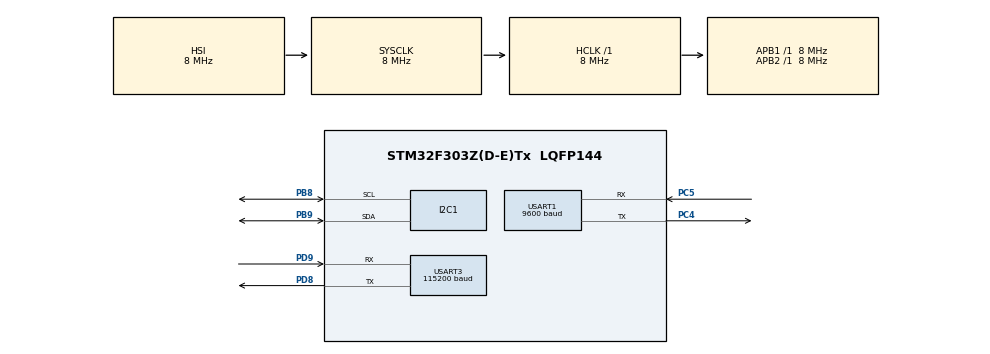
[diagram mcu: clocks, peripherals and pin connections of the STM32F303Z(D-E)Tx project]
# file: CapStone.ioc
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I2C1.Timing=0x00201D2B
Mcu.Family=STM32F3
Mcu.Name=STM32F303Z(D-E)Tx
Mcu.Package=LQFP144
NVIC.PriorityGroup=NVIC_PRIORITYGROUP_4
PA13.Mode=Serial_Wire
PA13.Signal=SYS_JTMS-SWDIO
PA14.Mode=Serial_Wire
PA14.Signal=SYS_JTCK-SWCLK
PB8.Mode=I2C
PB8.Signal=I2C1_SCL
PB9.Mode=I2C
PB9.Signal=I2C1_SDA
PC4.Mode=Asynchronous
PC4.Signal=USART1_TX
PC5.Mode=Asynchronous
PC5.Signal=USART1_RX
PD8.Mode=Asynchronous
PD8.Signal=USART3_TX
PD9.Mode=Asynchronous
PD9.Signal=USART3_RX
ProjectManager.HeapSize=0x200
ProjectManager.StackSize=0x400
ProjectManager.TargetToolchain=STM32CubeIDE
RCC.AHBFreq_Value=8000000
RCC.APB1Freq_Value=8000000
RCC.APB2Freq_Value=8000000
RCC.CortexFreq_Value=8000000
RCC.HSE_VALUE=8000000
RCC.HSI_VALUE=8000000
RCC.LSE_VALUE=32768
RCC.SYSCLKFreq_VALUE=8000000
USART1.BaudRate=9600
USART1.VirtualMode-Asynchronous=VM_ASYNC
USART3.BaudRate=115200
USART3.VirtualMode-Asynchronous=VM_ASYNC
board=custom

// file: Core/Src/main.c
/* USER CODE BEGIN Header */
/**
  ******************************************************************************
  * @file           : main.c
  * @brief          : Main program body
  ******************************************************************************
  * @attention
  *
  * Copyright (c) 2026 STMicroelectronics.
  * All rights reserved.
  *
  * This software is licensed under terms that can be found in the LICENSE file
  * in the root directory of this software component.
  * If no LICENSE file comes with this software, it is provided AS-IS.
  *
  ******************************************************************************
  */
/* USER CODE END Header */
#include "main.h"

/* USER CODE BEGIN Includes */
#include "pzem004t.h"
#include "lcd_i2c.h"
#include <stdio.h>
/* USER CODE END Includes */

I2C_HandleTypeDef hi2c1;

UART_HandleTypeDef huart1;
UART_HandleTypeDef huart3;

/* USER CODE BEGIN PV */
PZEM_Data_t pzem_data;
PZEM_Status_t pzem_status;
uint32_t pzem_tick = 0;
uint8_t lcd_ok = 0;
/* USER CODE END PV */

void SystemClock_Config(void);
static void MX_GPIO_Init(void);
static void MX_I2C1_Init(void);
static void MX_USART1_UART_Init(void);
static void MX_USART3_UART_Init(void);

/* USER CODE BEGIN 0 */
int __io_putchar(int ch)
{
    HAL_UART_Transmit(&huart3, (uint8_t *)&ch, 1, HAL_MAX_DELAY);
    return ch;
}
/* USER CODE END 0 */

int main(void)
{

  /* MCU Configuration--------------------------------------------------------*/

  /* Reset of all peripherals, Initializes the Flash interface and the Systick. */
  HAL_Init();

  /* Configure the system clock */
  SystemClock_Config();

  /* Initialize all configured peripherals */
  MX_GPIO_Init();
  MX_I2C1_Init();
  MX_USART1_UART_Init();
  MX_USART3_UART_Init();
  /* USER CODE BEGIN 2 */
  printf("System start\r\n");

  if (LCD_Init() == HAL_OK)
  {
      lcd_ok = 1;
      printf("LCD init OK\r\n");

      LCD_Clear();
      LCD_PrintAt(0, 0, "Hello");
      LCD_PrintAt(1, 0, "STM32 + LCD");
      HAL_Delay(1000);
      LCD_Clear();
  }
  else
  {
      lcd_ok = 0;
      printf("LCD init FAIL\r\n");
  }
  /* USER CODE END 2 */

  /* Infinite loop */
  /* USER CODE BEGIN WHILE */
  while (1)
  {
      if (HAL_GetTick() - pzem_tick >= 1000)
      {
          pzem_tick = HAL_GetTick();

          pzem_status = PZEM_ReadMeasurements(&huart1, PZEM_DEFAULT_ADDR, &pzem_data);

          if (pzem_status == PZEM_OK)
          {
              printf("V=%.1f V, I=%.3f A, P=%.1f W, E=%.3f kWh, F=%.1f Hz, PF=%.2f\r\n",
                     pzem_data.voltage,
                     pzem_data.current,
                     pzem_data.power,
                     pzem_data.energy,
                     pzem_data.frequency,
                     pzem_data.pf);

              if (lcd_ok)
              {
                  char line1[17];
                  char line2[17];

                  snprintf(line1, sizeof(line1), "V:%5.1f I:%4.2f",
                           pzem_data.voltage, pzem_data.current);
                  snprintf(line2, sizeof(line2), "P:%5.1f PF:%4.2f",
                           pzem_data.power, pzem_data.pf);

                  LCD_PrintAt(0, 0, "                ");
                  LCD_PrintAt(1, 0, "                ");
                  LCD_PrintAt(0, 0, line1);
                  LCD_PrintAt(1, 0, line2);
              }
          }
          else
          {
              printf("PZEM read error: %d\r\n", pzem_status);

              if (lcd_ok)
              {
                  LCD_PrintAt(0, 0, "PZEM Error      ");
                  LCD_PrintAt(1, 0, "                ");
              }
          }
      }

    /* USER CODE END WHILE */

  }
}

void SystemClock_Config(void)
{
  RCC_OscInitTypeDef RCC_OscInitStruct = {0};
  RCC_ClkInitTypeDef RCC_ClkInitStruct = {0};
  RCC_PeriphCLKInitTypeDef PeriphClkInit = {0};

  /** Initializes the RCC Oscillators according to the specified parameters
  * in the RCC_OscInitTypeDef structure.
  */
  RCC_OscInitStruct.OscillatorType = RCC_OSCILLATORTYPE_HSI;
  RCC_OscInitStruct.HSIState = RCC_HSI_ON;
  RCC_OscInitStruct.HSICalibrationValue = RCC_HSICALIBRATION_DEFAULT;
  RCC_OscInitStruct.PLL.PLLState = RCC_PLL_NONE;
  if (HAL_RCC_OscConfig(&RCC_OscInitStruct) != HAL_OK)
  {
    Error_Handler();
  }

  /** Initializes the CPU, AHB and APB buses clocks
  */
  RCC_ClkInitStruct.ClockType = RCC_CLOCKTYPE_HCLK|RCC_CLOCKTYPE_SYSCLK
                              |RCC_CLOCKTYPE_PCLK1|RCC_CLOCKTYPE_PCLK2;
  RCC_ClkInitStruct.SYSCLKSource = RCC_SYSCLKSOURCE_HSI;
  RCC_ClkInitStruct.AHBCLKDivider = RCC_SYSCLK_DIV1;
  RCC_ClkInitStruct.APB1CLKDivider = RCC_HCLK_DIV1;
  RCC_ClkInitStruct.APB2CLKDivider = RCC_HCLK_DIV1;

  if (HAL_RCC_ClockConfig(&RCC_ClkInitStruct, FLASH_LATENCY_0) != HAL_OK)
  {
    Error_Handler();
  }
  PeriphClkInit.PeriphClockSelection = RCC_PERIPHCLK_USART1|RCC_PERIPHCLK_USART3
                              |RCC_PERIPHCLK_I2C1;
  PeriphClkInit.Usart1ClockSelection = RCC_USART1CLKSOURCE_PCLK2;
  PeriphClkInit.Usart3ClockSelection = RCC_USART3CLKSOURCE_PCLK1;
  PeriphClkInit.I2c1ClockSelection = RCC_I2C1CLKSOURCE_HSI;
  if (HAL_RCCEx_PeriphCLKConfig(&PeriphClkInit) != HAL_OK)
  {
    Error_Handler();
  }
}

static void MX_I2C1_Init(void)
{

  hi2c1.Instance = I2C1;
  hi2c1.Init.Timing = 0x00201D2B;
  hi2c1.Init.OwnAddress1 = 0;
  hi2c1.Init.AddressingMode = I2C_ADDRESSINGMODE_7BIT;
  hi2c1.Init.DualAddressMode = I2C_DUALADDRESS_DISABLE;
  hi2c1.Init.OwnAddress2 = 0;
  hi2c1.Init.OwnAddress2Masks = I2C_OA2_NOMASK;
  hi2c1.Init.GeneralCallMode = I2C_GENERALCALL_DISABLE;
  hi2c1.Init.NoStretchMode = I2C_NOSTRETCH_DISABLE;
  if (HAL_I2C_Init(&hi2c1) != HAL_OK)
  {
    Error_Handler();
  }

  /** Configure Analogue filter
  */
  if (HAL_I2CEx_ConfigAnalogFilter(&hi2c1, I2C_ANALOGFILTER_ENABLE) != HAL_OK)
  {
    Error_Handler();
  }

  /** Configure Digital filter
  */
  if (HAL_I2CEx_ConfigDigitalFilter(&hi2c1, 0) != HAL_OK)
  {
    Error_Handler();
  }

}

static void MX_USART1_UART_Init(void)
{

  huart1.Instance = USART1;
  huart1.Init.BaudRate = 9600;
  huart1.Init.WordLength = UART_WORDLENGTH_8B;
  huart1.Init.StopBits = UART_STOPBITS_1;
  huart1.Init.Parity = UART_PARITY_NONE;
  huart1.Init.Mode = UART_MODE_TX_RX;
  huart1.Init.HwFlowCtl = UART_HWCONTROL_NONE;
  huart1.Init.OverSampling = UART_OVERSAMPLING_16;
  huart1.Init.OneBitSampling = UART_ONE_BIT_SAMPLE_DISABLE;
  huart1.AdvancedInit.AdvFeatureInit = UART_ADVFEATURE_NO_INIT;
  if (HAL_UART_Init(&huart1) != HAL_OK)
  {
    Error_Handler();
  }

}

static void MX_USART3_UART_Init(void)
{

  huart3.Instance = USART3;
  huart3.Init.BaudRate = 115200;
  huart3.Init.WordLength = UART_WORDLENGTH_8B;
  huart3.Init.StopBits = UART_STOPBITS_1;
  huart3.Init.Parity = UART_PARITY_NONE;
  huart3.Init.Mode = UART_MODE_TX_RX;
  huart3.Init.HwFlowCtl = UART_HWCONTROL_NONE;
  huart3.Init.OverSampling = UART_OVERSAMPLING_16;
  huart3.Init.OneBitSampling = UART_ONE_BIT_SAMPLE_DISABLE;
  huart3.AdvancedInit.AdvFeatureInit = UART_ADVFEATURE_NO_INIT;
  if (HAL_UART_Init(&huart3) != HAL_OK)
  {
    Error_Handler();
  }

}

static void MX_GPIO_Init(void)
{

  /* GPIO Ports Clock Enable */
  __HAL_RCC_GPIOC_CLK_ENABLE();
  __HAL_RCC_GPIOD_CLK_ENABLE();
  __HAL_RCC_GPIOA_CLK_ENABLE();
  __HAL_RCC_GPIOB_CLK_ENABLE();

}

void Error_Handler(void)
{
  __disable_irq();
  while (1)
  {
  }
}
